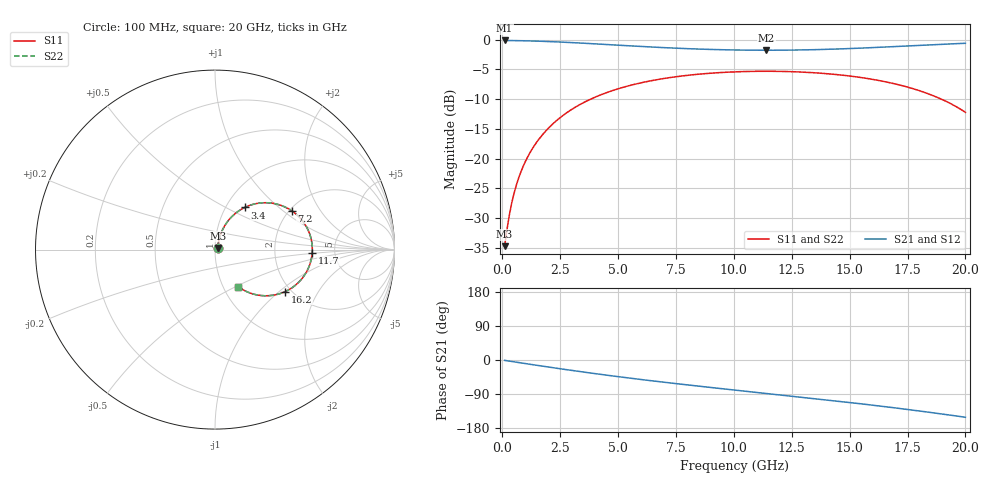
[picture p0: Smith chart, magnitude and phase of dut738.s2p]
! Touchstone file exported from HFSS 2026.1.0
!  File:  C:/ffzhzh/LocalFiles/Ansys_Project_Files/temp_train_TSV_RDL_738_1783204125_22436.aedt
!  Generated:  06:39:10 AM Jul  5, 2026
!  Design:  TSV_RDL
!  Project:  temp_train_TSV_RDL_738_1783204125_22436
! Variables:
!  h_bsmrdl = 4.05um
!  h_ox = 20um
!  h_rdl = 5um
!  h_sub = 65.47um
!  h_tmrdl = 4.66um
!  h_tsv = 65.47um
!  h_via = 3um
!  l_bsmrdl = 436.89um
!  l_sub = 2610.66um
!  l_tmrdl = 205.58um
!  m_sub = 200um
!  pitch = 37.94um
!  r_tsv = 7.59um
!  s_tmrdl = 10um
!  w_bsmrdl = 12.12um
!  w_sub = 500um
!  w_tmrdl = 13.77um
!  x_tsv_center1 = 212.465um
!  x_tsv_center2 = 661.475um
!  x_tsv_center3 = 880.825um
!  x_tsv_center4 = 1329.835um
!  x_tsv_center5 = 1549.185um
!  x_tsv_center6 = 1998.195um
# GHz S MA R 50.000000
! Terminal data exported
! Port[1] = TM_RDL1_1_T1
! Port[2] = TM_RDL5_1_T1
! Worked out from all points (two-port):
!   200 points, 100 MHz to 20 GHz, reference 50 ohm
!   highest |S21| = -0.14 dB at 100 MHz (marker M1); lowest = -1.8 dB at 11.4 GHz (marker M2)
!   |S21| within 3 dB of the highest: start of sweep to end of sweep
!   lowest |S11| = -34.7 dB at 100 MHz (marker M3), VSWR 1.04, Z = 51.6 + j0.986 ohm
!   |S11| at or under -10 dB: start of sweep to 3.82 GHz; 18.96 GHz to end of sweep
!   |S22| runs from -34.7 to -5.3 dB; largest |S21 - S12| = 2.5e-14
!   S11 on the Smith chart (normalised r, x): 100 MHz: 1.03, +0.02; 3.4 GHz: 1.22, +0.63; 7.2 GHz: 2.05, +1.15; 11.7 GHz: 3.36, -0.16; 16.2 GHz: 1.86, -1.10; 20 GHz: 1.18, -0.52
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0.1  0.01832 31.4  0.9845 -1.0  0.9845 -1.0  0.01832 31.4
! Gamma 0 0 0 0
! Port Impedance 50 0 50 0
0.3  0.03312 58.0  0.9834 -2.9  0.9834 -2.9  0.03312 58.0
0.5  0.05035 65.8  0.9821 -4.8  0.9821 -4.8  0.05035 65.8
0.8  0.07693 69.3  0.9798 -7.6  0.9798 -7.6  0.07693 69.3
1.1  0.1035 69.6  0.9768 -10.4  0.9768 -10.4  0.1035 69.6
1.6  0.1471 67.6  0.9704 -15.0  0.9704 -15.0  0.1471 67.6
2.1  0.189 64.4  0.9623 -19.6  0.9623 -19.6  0.189 64.4
2.7  0.2366 60.1  0.9509 -24.9  0.9509 -24.9  0.2366 60.1
3.4  0.2878 54.7  0.9359 -30.9  0.9359 -30.9  0.2878 54.7
3.5  0.2948 54.0  0.9336 -31.8  0.9336 -31.8  0.2948 54.0
5  0.386 42.6  0.8986 -43.9  0.8986 -43.9  0.386 42.6
6.8  0.4651 29.7  0.8601 -57.4  0.8601 -57.4  0.4651 29.7
7.2  0.4785 27.0  0.8527 -60.2  0.8527 -60.2  0.4785 27.0
8.7  0.5167 17.1  0.8305 -70.5  0.8305 -70.5  0.5167 17.1
10.1  0.5365 8.2  0.8182 -79.7  0.8182 -79.7  0.5365 8.2
11.4  0.5423 0.1  0.8144 -88.2  0.8144 -88.2  0.5423 0.1
11.7  0.5419 -1.8  0.8146 -90.1  0.8146 -90.1  0.5419 -1.8
13.4  0.5277 -12.5  0.823 -101.3  0.823 -101.3  0.5278 -12.5
16.2  0.4558 -30.9  0.8607 -120.7  0.8607 -120.7  0.4559 -30.9
16.7  0.4359 -34.3  0.8698 -124.4  0.8698 -124.4  0.4359 -34.3
18.5  0.3445 -47.2  0.9049 -138.5  0.9049 -138.5  0.3445 -47.1
20  0.2449 -57.8  0.932 -151.1  0.932 -151.1  0.2449 -57.8
